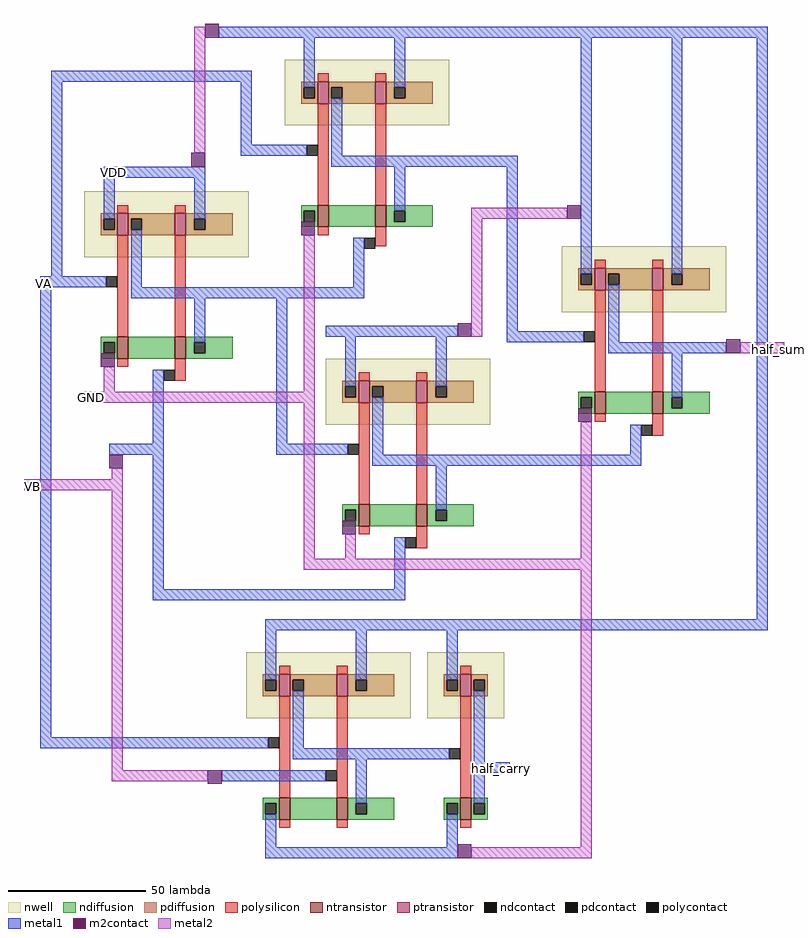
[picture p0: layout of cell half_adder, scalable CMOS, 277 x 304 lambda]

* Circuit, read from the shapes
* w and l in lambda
.subckt half_adder GND VA VB VDD half_carry half_sum
M1 n1 VA GND VSUBS nfet w=8 l=4
M2 n2 VB n1 VSUBS nfet w=8 l=4
M3 n3 VA GND VSUBS nfet w=8 l=4
M4 n4 VA GND VSUBS nfet w=8 l=4
M5 n5 VB n3 VSUBS nfet w=8 l=4
M6 n6 n2 GND VSUBS nfet w=8 l=4
M7 n7 n2 n4 VSUBS nfet w=8 l=4
M8 n8 VB n6 VSUBS nfet w=8 l=4
M9 half_carry n5 GND VSUBS nfet w=8 l=4
M10 n9 n7 GND VSUBS nfet w=8 l=4
M11 half_sum n8 n9 VSUBS nfet w=8 l=4
M12 n2 VA VDD n10 pfet w=8 l=4
M13 VDD VB n2 n10 pfet w=8 l=4
M14 n5 VA VDD n11 pfet w=8 l=4
M15 n7 VA VDD n12 pfet w=8 l=4
M16 VDD VB n5 n11 pfet w=8 l=4
M17 n8 n2 VDD n13 pfet w=8 l=4
M18 VDD n2 n7 n12 pfet w=8 l=4
M19 VDD VB n8 n13 pfet w=8 l=4
M20 half_carry n5 VDD n14 pfet w=8 l=4
M21 half_sum n7 VDD n15 pfet w=8 l=4
M22 VDD n8 half_sum n15 pfet w=8 l=4
.ends

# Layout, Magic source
magic
tech scmos
<< nwell >>
rect 71 48 131 72
rect -2 0 58 24
rect 172 -20 232 4
rect 86 -61 146 -37
rect 57 -168 117 -144
rect 123 -168 151 -144
<< ntransistor >>
rect 83 11 87 19
rect 104 11 108 19
rect 10 -37 14 -29
rect 31 -37 35 -29
rect 184 -57 188 -49
rect 205 -57 209 -49
rect 98 -98 102 -90
rect 119 -98 123 -90
rect 69 -205 73 -197
rect 90 -205 94 -197
rect 135 -205 139 -197
<< ptransistor >>
rect 83 56 87 64
rect 104 56 108 64
rect 10 8 14 16
rect 31 8 35 16
rect 184 -12 188 -4
rect 205 -12 209 -4
rect 98 -53 102 -45
rect 119 -53 123 -45
rect 69 -160 73 -152
rect 90 -160 94 -152
rect 135 -160 139 -152
<< ndiffusion >>
rect 77 17 83 19
rect 77 13 78 17
rect 82 13 83 17
rect 77 11 83 13
rect 87 11 104 19
rect 108 17 125 19
rect 108 13 111 17
rect 115 13 125 17
rect 108 11 125 13
rect 4 -31 10 -29
rect 4 -35 5 -31
rect 9 -35 10 -31
rect 4 -37 10 -35
rect 14 -37 31 -29
rect 35 -31 52 -29
rect 35 -35 38 -31
rect 42 -35 52 -31
rect 35 -37 52 -35
rect 178 -51 184 -49
rect 178 -55 179 -51
rect 183 -55 184 -51
rect 178 -57 184 -55
rect 188 -57 205 -49
rect 209 -51 226 -49
rect 209 -55 212 -51
rect 216 -55 226 -51
rect 209 -57 226 -55
rect 92 -92 98 -90
rect 92 -96 93 -92
rect 97 -96 98 -92
rect 92 -98 98 -96
rect 102 -98 119 -90
rect 123 -92 140 -90
rect 123 -96 126 -92
rect 130 -96 140 -92
rect 123 -98 140 -96
rect 63 -199 69 -197
rect 63 -203 64 -199
rect 68 -203 69 -199
rect 63 -205 69 -203
rect 73 -205 90 -197
rect 94 -199 111 -197
rect 94 -203 97 -199
rect 101 -203 111 -199
rect 94 -205 111 -203
rect 129 -199 135 -197
rect 129 -203 130 -199
rect 134 -203 135 -199
rect 129 -205 135 -203
rect 139 -199 145 -197
rect 139 -203 140 -199
rect 144 -203 145 -199
rect 139 -205 145 -203
<< pdiffusion >>
rect 77 62 83 64
rect 77 58 78 62
rect 82 58 83 62
rect 77 56 83 58
rect 87 62 104 64
rect 87 58 88 62
rect 92 58 104 62
rect 87 56 104 58
rect 108 62 125 64
rect 108 58 111 62
rect 115 58 125 62
rect 108 56 125 58
rect 4 14 10 16
rect 4 10 5 14
rect 9 10 10 14
rect 4 8 10 10
rect 14 14 31 16
rect 14 10 15 14
rect 19 10 31 14
rect 14 8 31 10
rect 35 14 52 16
rect 35 10 38 14
rect 42 10 52 14
rect 35 8 52 10
rect 178 -6 184 -4
rect 178 -10 179 -6
rect 183 -10 184 -6
rect 178 -12 184 -10
rect 188 -6 205 -4
rect 188 -10 189 -6
rect 193 -10 205 -6
rect 188 -12 205 -10
rect 209 -6 226 -4
rect 209 -10 212 -6
rect 216 -10 226 -6
rect 209 -12 226 -10
rect 92 -47 98 -45
rect 92 -51 93 -47
rect 97 -51 98 -47
rect 92 -53 98 -51
rect 102 -47 119 -45
rect 102 -51 103 -47
rect 107 -51 119 -47
rect 102 -53 119 -51
rect 123 -47 140 -45
rect 123 -51 126 -47
rect 130 -51 140 -47
rect 123 -53 140 -51
rect 63 -154 69 -152
rect 63 -158 64 -154
rect 68 -158 69 -154
rect 63 -160 69 -158
rect 73 -154 90 -152
rect 73 -158 74 -154
rect 78 -158 90 -154
rect 73 -160 90 -158
rect 94 -154 111 -152
rect 94 -158 97 -154
rect 101 -158 111 -154
rect 94 -160 111 -158
rect 129 -154 135 -152
rect 129 -158 130 -154
rect 134 -158 135 -154
rect 129 -160 135 -158
rect 139 -154 145 -152
rect 139 -158 140 -154
rect 144 -158 145 -154
rect 139 -160 145 -158
<< ndcontact >>
rect 78 13 82 17
rect 111 13 115 17
rect 5 -35 9 -31
rect 38 -35 42 -31
rect 179 -55 183 -51
rect 212 -55 216 -51
rect 93 -96 97 -92
rect 126 -96 130 -92
rect 64 -203 68 -199
rect 97 -203 101 -199
rect 130 -203 134 -199
rect 140 -203 144 -199
<< pdcontact >>
rect 78 58 82 62
rect 88 58 92 62
rect 111 58 115 62
rect 5 10 9 14
rect 15 10 19 14
rect 38 10 42 14
rect 179 -10 183 -6
rect 189 -10 193 -6
rect 212 -10 216 -6
rect 93 -51 97 -47
rect 103 -51 107 -47
rect 126 -51 130 -47
rect 64 -158 68 -154
rect 74 -158 78 -154
rect 97 -158 101 -154
rect 130 -158 134 -154
rect 140 -158 144 -154
<< polysilicon >>
rect 83 64 87 67
rect 104 64 108 67
rect 83 19 87 56
rect 104 19 108 56
rect 10 16 14 19
rect 31 16 35 19
rect 83 8 87 11
rect 10 -29 14 8
rect 31 -29 35 8
rect 104 4 108 11
rect 184 -4 188 -1
rect 205 -4 209 -1
rect 10 -40 14 -37
rect 31 -45 35 -37
rect 98 -45 102 -42
rect 119 -45 123 -42
rect 184 -49 188 -12
rect 205 -49 209 -12
rect 98 -90 102 -53
rect 119 -90 123 -53
rect 184 -60 188 -57
rect 205 -65 209 -57
rect 98 -101 102 -98
rect 119 -106 123 -98
rect 69 -152 73 -149
rect 90 -152 94 -149
rect 135 -152 139 -149
rect 69 -197 73 -160
rect 90 -197 94 -160
rect 135 -197 139 -160
rect 69 -208 73 -205
rect 90 -208 94 -205
rect 135 -208 139 -205
<< polycontact >>
rect 79 37 83 41
rect 6 -11 10 -7
rect 100 3 104 7
rect 180 -31 184 -27
rect 27 -45 31 -41
rect 94 -72 98 -68
rect 201 -65 205 -61
rect 115 -106 119 -102
rect 65 -179 69 -175
rect 86 -191 90 -187
rect 131 -183 135 -179
<< metal1 >>
rect 47 80 247 84
rect -14 64 59 68
rect -14 -7 -10 64
rect 55 41 59 64
rect 78 62 82 80
rect 111 62 115 80
rect 55 37 79 41
rect 88 37 92 58
rect 88 33 156 37
rect 5 29 42 33
rect 5 14 9 29
rect 38 14 42 29
rect 111 17 115 33
rect -18 -11 6 -7
rect 15 -11 19 10
rect 96 -11 100 7
rect -18 -175 -14 -11
rect 15 -15 100 -11
rect 38 -31 42 -15
rect 23 -68 27 -41
rect 7 -72 27 -68
rect 68 -68 72 -15
rect 86 -29 134 -25
rect 152 -27 156 33
rect 179 -6 183 80
rect 212 -6 216 80
rect 93 -47 97 -29
rect 126 -47 130 -29
rect 152 -31 180 -27
rect 189 -31 193 -10
rect 189 -35 232 -31
rect 212 -51 216 -35
rect 68 -72 94 -68
rect 103 -72 107 -51
rect 197 -72 201 -61
rect 23 -121 27 -72
rect 103 -76 201 -72
rect 126 -92 130 -76
rect 111 -121 115 -102
rect 23 -125 115 -121
rect 243 -132 247 80
rect 64 -136 247 -132
rect 64 -154 68 -136
rect 97 -154 101 -136
rect 130 -154 134 -136
rect -18 -179 65 -175
rect 74 -179 78 -158
rect 74 -183 131 -179
rect 48 -191 86 -187
rect 97 -199 101 -183
rect 140 -184 144 -158
rect 140 -188 153 -184
rect 140 -199 144 -188
rect 64 -215 68 -203
rect 130 -215 134 -203
rect 64 -219 134 -215
<< m2contact >>
rect 42 80 47 85
rect 37 33 42 38
rect 77 8 82 13
rect 4 -40 9 -35
rect 134 -29 139 -24
rect 174 14 179 19
rect 232 -35 237 -30
rect 178 -60 183 -55
rect 7 -77 12 -72
rect 92 -101 97 -96
rect 43 -192 48 -187
rect 134 -219 139 -214
<< metal2 >>
rect 38 38 42 84
rect 139 14 174 18
rect 5 -49 9 -40
rect 78 -49 82 8
rect 139 -29 143 14
rect 237 -35 253 -31
rect -2 -53 82 -49
rect 8 -81 12 -77
rect -24 -85 12 -81
rect 8 -187 12 -85
rect 78 -110 82 -53
rect 93 -110 97 -101
rect 179 -110 183 -60
rect 78 -114 183 -110
rect 8 -191 43 -187
rect 179 -215 183 -114
rect 139 -219 183 -215
<< labels >>
rlabel metal2 -1 -52 2 -50 1 GND
rlabel metal1 6 30 11 32 1 VDD
rlabel metal2 250 -34 252 -33 7 half_sum
rlabel metal1 -18 -10 -16 -9 3 VA
rlabel metal2 -22 -84 -20 -83 3 VB
rlabel metal1 149 -187 151 -186 1 half_carry
<< end >>
